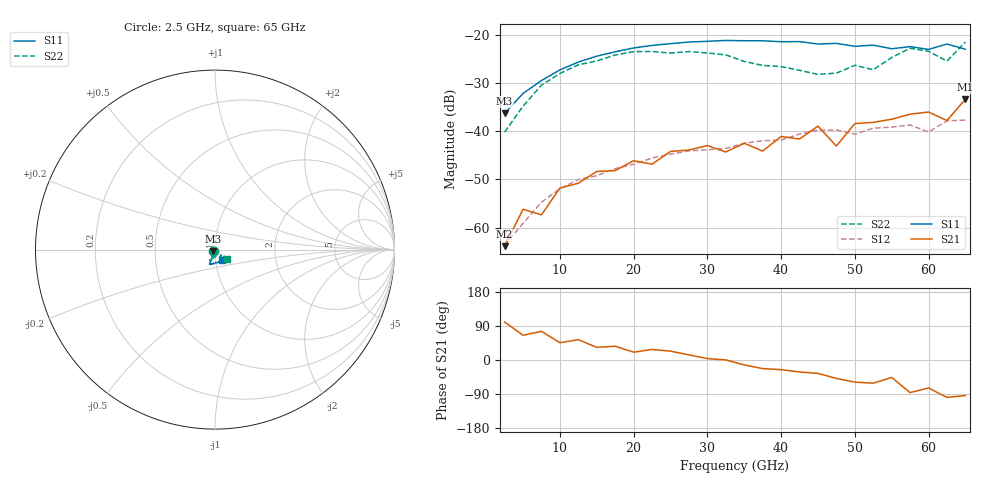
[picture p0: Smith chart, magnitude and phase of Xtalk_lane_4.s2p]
! File created by SignalIntegrity v1.5.1: Signal and Power Integrity Tools
! https://github.com/Nubis-Communications/SignalIntegrity
# MHz S MA R 50.0
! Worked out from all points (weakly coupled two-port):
!   26 points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, 2.5 GHz to 65 GHz, reference 50 ohm
!   highest |S21| = -33.38 dB at 65 GHz (marker M1); lowest = -63.9 dB at 2.5 GHz (marker M2)
!   lowest |S11| = -36.3 dB at 2.5 GHz (marker M3), VSWR 1.03, Z = 48.8 - j0.963 ohm
!   |S11| at or under -10 dB: start of sweep to end of sweep
!   |S22| runs from -40.2 to -21.5 dB; largest |S21 - S12| = 0.009
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2500  0.01523 -139.7  0.0006416 100.1  0.0006507 79.7  0.009767 -126.3
5000  0.0246 -123.6  0.001547 65.3  0.001106 75.0  0.01817 -103.7
7500  0.03346 -113.6  0.001354 75.7  0.001832 66.2  0.02995 -105.4
10000  0.04314 -112.6  0.002567 45.6  0.002534 56.9  0.03964 -98.3
15000  0.05984 -111.1  0.003819 33.4  0.00345 43.6  0.05338 -107.0
22500  0.07741 -110.1  0.004545 27.8  0.005268 24.8  0.06689 -113.4
25000  0.08068 -110.9  0.006157 23.3  0.00578 16.1  0.06451 -114.4
30000  0.08537 -111.0  0.007088 3.7  0.006422 2.6  0.06458 -115.1
32500  0.08712 -109.1  0.006082 0.2  0.006598 -0.7  0.06175 -116.0
35000  0.08644 -110.1  0.007489 -12.9  0.00748 -10.6  0.05283 -111.7
37500  0.08645 -107.3  0.006209 -22.6  0.007956 -16.9  0.04801 -113.8
40000  0.08451 -107.2  0.008798 -25.5  0.008084 -25.8  0.04667 -98.9
42500  0.08478 -104.2  0.008282 -31.6  0.009339 -36.2  0.04274 -97.6
45000  0.07999 -103.2  0.01126 -35.3  0.01025 -41.9  0.03878 -84.0
47500  0.08127 -98.2  0.007009 -48.6  0.01031 -46.3  0.03991 -71.3
50000  0.07574 -96.7  0.01197 -58.4  0.009294 -55.4  0.04816 -51.6
52500  0.0779 -91.2  0.01233 -61.1  0.01073 -61.0  0.04335 -41.0
55000  0.07147 -86.8  0.01329 -46.0  0.011 -71.5  0.058 -52.6
57500  0.07519 -79.3  0.015 -86.0  0.01158 -78.7  0.07236 -55.2
60000  0.07038 -74.9  0.01578 -73.7  0.009794 -78.3  0.06724 -39.4
62500  0.08 -65.9  0.01288 -98.8  0.01281 -86.1  0.05321 -35.2
65000  0.07068 -57.0  0.02144 -93.7  0.01301 -104.3  0.08393 -36.8
